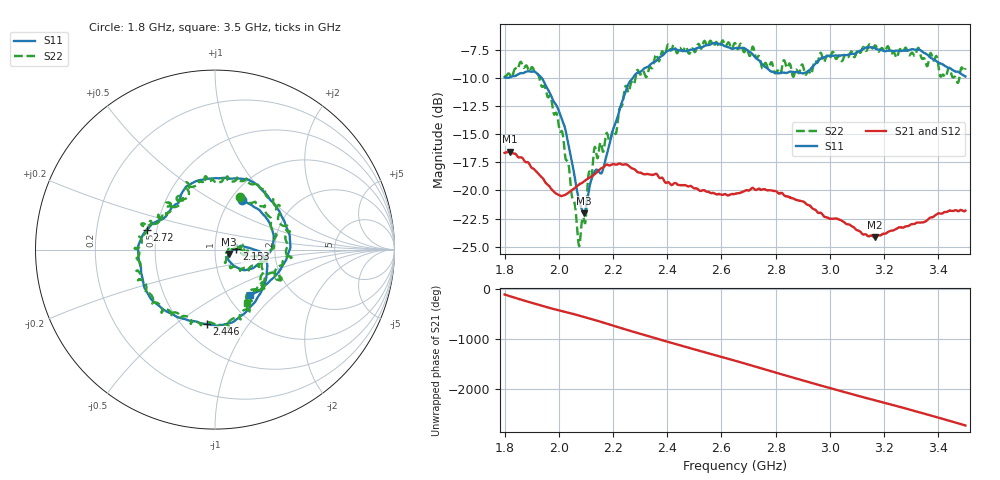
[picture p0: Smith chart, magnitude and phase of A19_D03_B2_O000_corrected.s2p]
! Created with skrf 1.9.0 (http://scikit-rf.org).
# Hz S RI R 50.0
!freq ReS11 ImS11 ReS21 ImS21 ReS12 ImS12 ReS22 ImS22
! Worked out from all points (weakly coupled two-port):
!   1601 points, 1.8 GHz to 3.5 GHz, reference 50 ohm
!   highest |S21| = -16.57 dB at 1.818 GHz (marker M1); lowest = -24.2 dB at 3.165 GHz (marker M2)
!   lowest |S11| = -22.0 dB at 2.093 GHz (marker M3), VSWR 1.17, Z = 58.1 - j2.78 ohm
!   |S11| at or under -10 dB: 1.805 GHz to 1.816 GHz (11.37 MHz wide, 0.628 % of centre); 1.936 GHz to 2.274 GHz (337.5 MHz wide, 16 % of centre)
!   |S22| runs from -24.9 to -6.7 dB; largest |S21 - S12| = 0.0026
!   S11 on the Smith chart (normalised r, x): 1.8 GHz: 1.13, +0.70; 2.153 GHz: 1.27, +0.01; 2.446 GHz: 0.65, -0.66; 2.72 GHz: 0.44, +0.11; 3.5 GHz: 1.26, -0.71
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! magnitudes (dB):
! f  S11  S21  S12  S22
! 1.8 GHz  -10.0  -16.7  -16.7  -9.8
! 1.818 GHz  -10.0  -16.6  -16.6  -9.7
! 1.903 GHz  -9.5  -18.0  -18.0  -9.1
! 1.968 GHz  -11.4  -19.7  -19.8  -11.6
! 2.015 GHz  -13.9  -20.5  -20.5  -15.0
! 2.072 GHz  -20.6  -19.5  -19.6  -24.6
! 2.084 GHz  -21.6  -19.4  -19.3  -23.0
! 2.093 GHz  -22.0  -19.2  -19.2  -22.6
! 2.13 GHz  -18.4  -18.6  -18.6  -16.3
! 2.153 GHz  -18.5  -18.1  -18.1  -15.8
! 2.209 GHz  -14.0  -17.7  -17.7  -15.0
! 2.258 GHz  -10.5  -17.8  -17.8  -11.3
! 2.367 GHz  -8.3  -18.8  -18.7  -8.5
! 2.446 GHz  -7.6  -19.5  -19.5  -7.4
! 2.65 GHz  -7.4  -20.3  -20.3  -6.9
! 2.72 GHz  -8.1  -19.8  -19.8  -7.5
! 2.802 GHz  -9.6  -20.1  -20.1  -9.5
! 2.934 GHz  -9.1  -21.5  -21.5  -9.5
! 3.165 GHz  -7.4  -24.2  -24.1  -7.2
! 3.217 GHz  -7.6  -23.6  -23.6  -7.3
! 3.468 GHz  -9.5  -21.8  -21.8  -10.3
! 3.5 GHz  -9.9  -21.8  -21.8  -9.2
